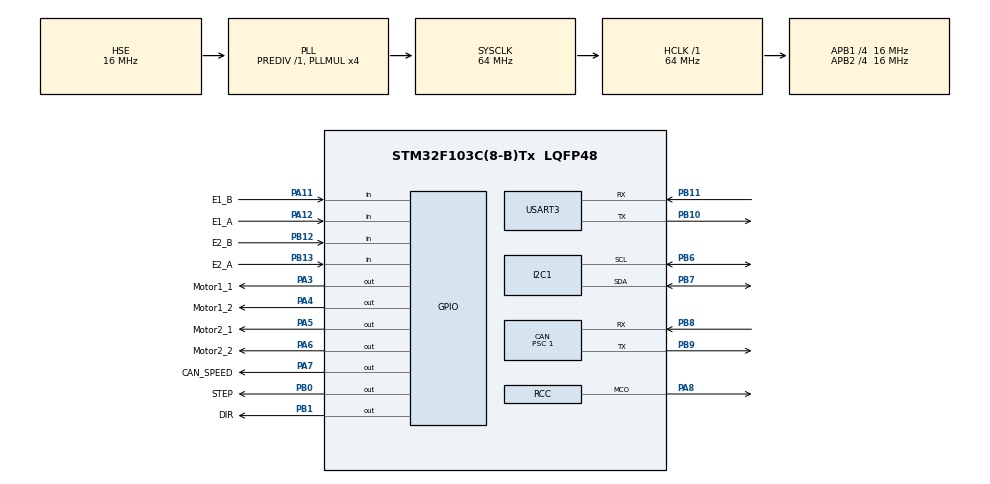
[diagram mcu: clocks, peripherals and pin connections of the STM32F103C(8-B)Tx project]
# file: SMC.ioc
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CAN.BS1=CAN_BS1_13TQ
CAN.BS2=CAN_BS2_2TQ
CAN.CalculateBaudRate=1000000
CAN.CalculateTimeBit=1000
CAN.CalculateTimeQuantum=62.5
CAN.Prescaler=1
Dma.I2C1_RX.0.Direction=DMA_PERIPH_TO_MEMORY
Dma.I2C1_RX.0.Instance=DMA1_Channel7
Dma.I2C1_RX.0.MemDataAlignment=DMA_MDATAALIGN_BYTE
Dma.I2C1_RX.0.MemInc=DMA_MINC_ENABLE
Dma.I2C1_RX.0.Mode=DMA_NORMAL
Dma.I2C1_RX.0.PeriphDataAlignment=DMA_PDATAALIGN_BYTE
Dma.I2C1_RX.0.PeriphInc=DMA_PINC_DISABLE
Dma.I2C1_RX.0.Priority=DMA_PRIORITY_MEDIUM
Dma.Request0=I2C1_RX
I2C1.I2C_Mode=I2C_Standard
Mcu.Family=STM32F1
Mcu.Name=STM32F103C(8-B)Tx
Mcu.Package=LQFP48
NVIC.CAN1_RX1_IRQn=true\:0\:0\:false\:false\:true\:true\:true\:true
NVIC.DMA1_Channel7_IRQn=true\:0\:0\:false\:false\:true\:false\:true\:true
NVIC.I2C1_ER_IRQn=true\:0\:0\:false\:false\:true\:true\:true\:true
NVIC.I2C1_EV_IRQn=true\:0\:0\:false\:false\:true\:true\:true\:true
NVIC.PriorityGroup=NVIC_PRIORITYGROUP_4
NVIC.TIM1_BRK_IRQn=true\:0\:0\:false\:false\:true\:true\:true\:true
NVIC.TIM1_TRG_COM_IRQn=true\:0\:0\:false\:false\:true\:true\:true\:true
NVIC.TIM1_UP_IRQn=true\:0\:0\:false\:false\:true\:true\:true\:true
NVIC.TIM2_IRQn=true\:0\:0\:false\:false\:true\:true\:true\:true
NVIC.TIM3_IRQn=true\:0\:0\:false\:false\:true\:true\:true\:true
NVIC.TIM4_IRQn=true\:0\:0\:false\:false\:true\:true\:true\:true
NVIC.USB_HP_CAN1_TX_IRQn=true\:0\:0\:false\:false\:true\:true\:true\:true
NVIC.USB_LP_CAN1_RX0_IRQn=true\:0\:0\:false\:false\:true\:true\:true\:true
PA11.GPIO_Label=E1_B
PA11.Signal=GPIO_Input
PA12.GPIO_Label=E1_A
PA12.Signal=GPIO_Input
PA13.Mode=Serial_Wire
PA13.Signal=SYS_JTMS-SWDIO
PA14.Mode=Serial_Wire
PA14.Signal=SYS_JTCK-SWCLK
PA3.GPIO_Label=Motor1_1
PA3.Signal=GPIO_Output
PA4.GPIO_Label=Motor1_2
PA4.Signal=GPIO_Output
PA5.GPIO_Label=Motor2_1
PA5.Signal=GPIO_Output
PA6.GPIO_Label=Motor2_2
PA6.Signal=GPIO_Output
PA7.GPIO_Label=CAN_SPEED
PA7.Signal=GPIO_Output
PA8.Mode=Clock-out
PA8.Signal=RCC_MCO
PB0.GPIO_Label=STEP
PB0.Signal=GPIO_Output
PB1.GPIO_Label=DIR
PB1.Signal=GPIO_Output
PB10.Mode=Asynchronous
PB10.Signal=USART3_TX
PB11.Mode=Asynchronous
PB11.Signal=USART3_RX
PB12.GPIO_Label=E2_B
PB12.Signal=GPIO_Input
PB13.GPIO_Label=E2_A
PB13.Signal=GPIO_Input
PB6.Mode=I2C
PB6.Signal=I2C1_SCL
PB7.Mode=I2C
PB7.Signal=I2C1_SDA
PB8.Mode=CAN_Activate
PB8.Signal=CAN_RX
PB9.Mode=CAN_Activate
PB9.Signal=CAN_TX
PD0-OSC_IN.Mode=HSE-External-Oscillator
PD0-OSC_IN.Signal=RCC_OSC_IN
PD1-OSC_OUT.Mode=HSE-External-Oscillator
PD1-OSC_OUT.Signal=RCC_OSC_OUT
ProjectManager.HeapSize=0x200
ProjectManager.StackSize=0x400
ProjectManager.TargetToolchain=STM32CubeIDE
RCC.AHBFreq_Value=64000000
RCC.APB1CLKDivider=RCC_HCLK_DIV4
RCC.APB1Freq_Value=16000000
RCC.APB1TimCLKDivider=2
RCC.APB1TimFreq_Value=32000000
RCC.APB2CLKDivider=RCC_HCLK_DIV4
RCC.APB2Freq_Value=16000000
RCC.APB2TimFreq_Value=32000000
RCC.HCLKFreq_Value=64000000
RCC.HSE_VALUE=16000000
RCC.PLLMUL=RCC_PLL_MUL4
RCC.PLLSourceVirtual=RCC_PLLSOURCE_HSE
RCC.RCC_MCOSource=RCC_MCO1SOURCE_HSE
RCC.SYSCLKFreq_VALUE=64000000
RCC.SYSCLKSource=RCC_SYSCLKSOURCE_PLLCLK
RCC.USBFreq_Value=64000000
TIM1.AutoReloadPreload=TIM_AUTORELOAD_PRELOAD_DISABLE
TIM1.Period=65535
TIM1.Prescaler=32-1
TIM2.Period=65535
TIM2.Prescaler=40-1
TIM3.Period=100-1
TIM3.Prescaler=4-1
TIM4.Period=100-1
TIM4.Prescaler=4-1
USART3.VirtualMode=VM_ASYNC
VP_TIM1_VS_ClockSourceINT.Mode=Internal
VP_TIM2_VS_ClockSourceINT.Mode=Internal
VP_TIM3_VS_ClockSourceINT.Mode=Internal
VP_TIM4_VS_ClockSourceINT.Mode=Internal
board=custom

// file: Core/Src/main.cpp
/* USER CODE BEGIN Header */
/**
  ******************************************************************************
  * @file           : main.c
  * @brief          : Main program body
  ******************************************************************************
  * @attention
  *
  * Copyright (c) 2024 STMicroelectronics.
  * All rights reserved.
  *
  * This software is licensed under terms that can be found in the LICENSE file
  * in the root directory of this software component.
  * If no LICENSE file comes with this software, it is provided AS-IS.
  *
  ******************************************************************************
  */
/* USER CODE END Header */
#include "main.h"
#include "math.h"
//
//M_PI

/* USER CODE BEGIN Includes */

#include "stepper_setting.hpp"
#include "motors.hpp"
#include "can.hpp"
#include "encoders.hpp"
#include "smc.hpp"

/* USER CODE END Includes */

/* USER CODE BEGIN PD */

#define SYSCLK 64000000

/* USER CODE END PD */

CAN_HandleTypeDef hcan;

I2C_HandleTypeDef hi2c1;
DMA_HandleTypeDef hdma_i2c1_rx;

TIM_HandleTypeDef htim1;
TIM_HandleTypeDef htim2;
TIM_HandleTypeDef htim3;
TIM_HandleTypeDef htim4;

UART_HandleTypeDef huart3;

/* USER CODE BEGIN PV */

uint16_t E1_last = 0;
uint16_t E2_last = 0;

uint32_t speedLE = 0, speedRE = 0;

/* USER CODE END PV */

void SystemClock_Config(void);
static void MX_GPIO_Init(void);
static void MX_DMA_Init(void);
static void MX_I2C1_Init(void);
static void MX_CAN_Init(void);
static void MX_USART3_UART_Init(void);
static void MX_TIM1_Init(void);
static void MX_TIM2_Init(void);
static void MX_TIM3_Init(void);
static void MX_TIM4_Init(void);
/* USER CODE BEGIN PFP */

#define MT6701_ADDR (0x06 << 1)  // Default slave address 0x06 shifted for HAL
#define REG_ANGLE_HIGH 0x03
#define REG_ANGLE_LOW 0x04

/* USER CODE END PFP */

/* USER CODE BEGIN 0 */
uint32_t speedTim(uint8_t id) {
	return ((id ? speedRE : speedLE) > __HAL_TIM_GET_COUNTER(&htim2) ?
			__HAL_TIM_GET_COUNTER(&htim2) + 65536 :
			__HAL_TIM_GET_COUNTER(&htim2)) - (id ? speedRE : speedLE);
}

void separate_float(float value, uint8_t* integer_part, uint8_t* decimal_part) {
    // Extract integer part
    *integer_part = (uint8_t)value;

    // Extract 2 decimal digits
    float decimal_temp = (value - (int)value) * 100;
    *decimal_part = (uint8_t)decimal_temp;
}
/* USER CODE END 0 */

int main(void)
{

  /* MCU Configuration--------------------------------------------------------*/

  /* Reset of all peripherals, Initializes the Flash interface and the Systick. */
  HAL_Init();

  /* Configure the system clock */
  SystemClock_Config();

  /* Initialize all configured peripherals */
  MX_GPIO_Init();
  MX_DMA_Init();
  MX_I2C1_Init();
  MX_CAN_Init();
  MX_USART3_UART_Init();
  MX_TIM1_Init();
  MX_TIM2_Init();
  MX_TIM3_Init();
  MX_TIM4_Init();
  /* USER CODE BEGIN 2 */

  HAL_TIM_Base_Start(&htim2);

  stpSetting_init(&huart3);
  gconfSetup(global_config_);
  cconfSetup(chopper_config_, 0b0011);
  currentSetup(driver_current_, 0, current);

  Stepper_Init(&htim1);
  Stepper_SetSpeed(30);

  DC_Init(&htim3, 0);
  DC_Init(&htim4, 1);

  CAN_INIT(&hcan, DEVICE_ID, MASK_SINGLE);

  /* USER CODE END 2 */

//	  stepper_angle = stepper_encoder_angle(&hi2c1, RAD);
  uint8_t E1A, E1B, E2A, E2B;
  uint8_t curE1, curE2, lastE1 = 0, lastE2 = 0;
  uint8_t replyData[8];

  uint64_t start;
  uint8_t dc_flag = 0;

//  static uint16_t enc_div = 0;
//  uint16_t enc_before = 0;
//  uint8_t on_run = 0;

  while (1) {
//	if (++enc_div >= 0) {
//		enc_div = 0;
//
//		stepper_encoder_angle(DEG);
//		increment = abs(raw_angle - enc_before);
//
//		if (stepper.is_running) on_run = 1;
//		else if (on_run && increment <= 10) {
//			Stepper_Stop();
//			on_run = 0;
//
//			replyData[0] = 0x30;
//			packFloat(404.404, replyData + 1);
//			CAN_Tx(replyData, 8, DEVICE_MASTER);
//		} else if (on_run) {
//			replyData[0] = 0x30;
//			packFloat(increment, replyData + 1);
//			CAN_Tx(replyData, 8, DEVICE_MASTER);
//		}
////		replyData[0] = 0x30;
////		packFloat(increment, replyData + 1);
////		CAN_Tx(replyData, 8, DEVICE_MASTER);
//
//		enc_before = raw_angle;
//	}

	E1A = HAL_GPIO_ReadPin(E1_A_GPIO_Port, E1_A_Pin);
	E1B = HAL_GPIO_ReadPin(E1_B_GPIO_Port, E1_B_Pin);
	curE1 = (E1A << 1) | E1B;

	E2A = HAL_GPIO_ReadPin(E2_A_GPIO_Port, E2_A_Pin);
	E2B = HAL_GPIO_ReadPin(E2_B_GPIO_Port, E2_B_Pin);
	curE2 = (E2A << 1) | E2B;

	if(curE1 != lastE1) {
		switch((lastE1 << 2) | curE1) {
		  case 0b0010:
		  case 0b1011:
		  case 0b1101:
		  case 0b0100:
			DCL.countE--;
			DCL.error = -(DCL.counts_to_go - DCL.countE);

			if (DCL.is_running && !DCL.dir) {
				DCL.speedE = speedTim(0);
				speedLE = __HAL_TIM_GET_COUNTER(&htim2);

				if ((DCL.counts_going) / 4 - 5 <= DCL.counts_going - DCL.error
						&& DCL.counts_going - DCL.error < (DCL.counts_going) / 4 + 5) {
					DCL.sum += DCL.speedE;
				} else if (DCL.counts_going - DCL.error == (DCL.counts_going) / 4 + 5) {
					spd = DCL.sum / 10;
					spdFlag = 1;
				}
			}

			break;

		  case 0b0001:
		  case 0b0111:
		  case 0b1110:
		  case 0b1000:
			DCL.countE++;
			DCL.error = (DCL.counts_to_go - DCL.countE);

//			DCL.speedE = __HAL_TIM_GET_COUNTER(&htim2);
//			__HAL_TIM_SET_COUNTER(&htim2, 0);

			if (DCL.is_running && DCL.dir) {
				DCL.speedE = speedTim(0);
				speedLE = __HAL_TIM_GET_COUNTER(&htim2);

				if ((DCL.counts_going) / 4 - 5 <= DCL.counts_going - DCL.error
						&& DCL.counts_going - DCL.error < (DCL.counts_going) / 4 + 5) {
					DCL.sum += DCL.speedE;
				} else if (DCL.counts_going - DCL.error == (DCL.counts_going) / 4 + 5) {
					spd = DCL.sum / 10;
					spdFlag = 1;
				}

				if (DCL.speedE <= 160 && accelCnt < 5) accelCnt++;
				if (accelCnt == 5) {
					accel = DCL.counts_going - DCL.error;
					accelCnt++;
				}
			}

			break;
		} lastE1 = curE1;
	}

	if(curE2 != lastE2) {
		switch((lastE2 << 2) | curE2) {
		  case 0b0010:
		  case 0b1011:
		  case 0b1101:
		  case 0b0100:
			DCR.countE++;
			DCR.error = (DCR.counts_to_go - DCR.countE);

			if (DCR.is_running && DCR.dir) {
				DCR.speedE = speedTim(1);
				speedRE = __HAL_TIM_GET_COUNTER(&htim2);

				if ((DCR.counts_going) / 4 - 5 <= DCR.counts_going - DCR.error
						&& DCR.counts_going - DCR.error < (DCR.counts_going) / 4 + 5) {
					DCR.sum += DCR.speedE;
				} else if (DCR.counts_going - DCR.error == (DCR.counts_going) / 4 + 5) {
					spd = DCR.sum / 10;
					spdFlag = 1;
				}
			}

			break;

		  case 0b0001:
		  case 0b0111:
		  case 0b1110:
		  case 0b1000:
			DCR.countE--;
			DCR.error = -(DCR.counts_to_go - DCR.countE);

			if (DCR.is_running && !DCR.dir) {
				DCR.speedE = speedTim(1);
				speedRE = __HAL_TIM_GET_COUNTER(&htim2);

				if ((DCR.counts_going) / 4 - 5 <= DCR.counts_going - DCR.error
						&& DCR.counts_going - DCR.error < (DCR.counts_going) / 4 + 5) {
					DCR.sum += DCR.speedE;
				} else if (DCR.counts_going - DCR.error == (DCR.counts_going) / 4 + 5) {
					spd = DCR.sum / 10;
					spdFlag = 1;
				}
			}

			break;
		} lastE2 = curE2;
	}

	if (DCL.stopped == -1 && speedTim(0) > 20000) {
		DCL.stopped = 1;

		if (dcl_program) dc_placed(0);
		if (swap == SWAP) dc_orient(target_ori);
//		send_int16(DCL.counts_going - DCL.error, replyData + 2);
	}

	if (DCR.stopped == -1 && speedTim(1) > 20000) {
		DCR.stopped = 1;

		if (dcr_program) dc_placed(1);
		if (swap == SWAP) dc_orient(target_ori);
	}

	if (phase != HOMING_DONE && DCL.stopped && DCR.stopped && !dc_flag) {
		start = HAL_GetTick();
		dc_flag = 1;
	} if (dc_flag && HAL_GetTick() - start > 100) {
		dc_flag = 0;
		dc_home();
	}

  }
}

void HAL_TIM_PeriodElapsedCallback(TIM_HandleTypeDef *htim) {
	if (htim -> Instance == stepper.htim_stepper -> Instance) Stepper_TIM_Interrupt();
    else if(htim -> Instance == DCL.htim_dc -> Instance) DC_TIM_Interrupt(&DCL);
    else if(htim -> Instance == DCR.htim_dc -> Instance) DC_TIM_Interrupt(&DCR);
}

void SystemClock_Config(void)
{
  RCC_OscInitTypeDef RCC_OscInitStruct = {0};
  RCC_ClkInitTypeDef RCC_ClkInitStruct = {0};

  /** Initializes the RCC Oscillators according to the specified parameters
  * in the RCC_OscInitTypeDef structure.
  */
  RCC_OscInitStruct.OscillatorType = RCC_OSCILLATORTYPE_HSE;
  RCC_OscInitStruct.HSEState = RCC_HSE_ON;
  RCC_OscInitStruct.HSEPredivValue = RCC_HSE_PREDIV_DIV1;
  RCC_OscInitStruct.HSIState = RCC_HSI_ON;
  RCC_OscInitStruct.PLL.PLLState = RCC_PLL_ON;
  RCC_OscInitStruct.PLL.PLLSource = RCC_PLLSOURCE_HSE;
  RCC_OscInitStruct.PLL.PLLMUL = RCC_PLL_MUL4;
  if (HAL_RCC_OscConfig(&RCC_OscInitStruct) != HAL_OK)
  {
    Error_Handler();
  }

  /** Initializes the CPU, AHB and APB buses clocks
  */
  RCC_ClkInitStruct.ClockType = RCC_CLOCKTYPE_HCLK|RCC_CLOCKTYPE_SYSCLK
                              |RCC_CLOCKTYPE_PCLK1|RCC_CLOCKTYPE_PCLK2;
  RCC_ClkInitStruct.SYSCLKSource = RCC_SYSCLKSOURCE_PLLCLK;
  RCC_ClkInitStruct.AHBCLKDivider = RCC_SYSCLK_DIV1;
  RCC_ClkInitStruct.APB1CLKDivider = RCC_HCLK_DIV4;
  RCC_ClkInitStruct.APB2CLKDivider = RCC_HCLK_DIV4;

  if (HAL_RCC_ClockConfig(&RCC_ClkInitStruct, FLASH_LATENCY_2) != HAL_OK)
  {
    Error_Handler();
  }
  HAL_RCC_MCOConfig(RCC_MCO, RCC_MCO1SOURCE_HSE, RCC_MCODIV_1);
}

static void MX_CAN_Init(void)
{

  hcan.Instance = CAN1;
  hcan.Init.Prescaler = 1;
  hcan.Init.Mode = CAN_MODE_NORMAL;
  hcan.Init.SyncJumpWidth = CAN_SJW_1TQ;
  hcan.Init.TimeSeg1 = CAN_BS1_13TQ;
  hcan.Init.TimeSeg2 = CAN_BS2_2TQ;
  hcan.Init.TimeTriggeredMode = DISABLE;
  hcan.Init.AutoBusOff = DISABLE;
  hcan.Init.AutoWakeUp = DISABLE;
  hcan.Init.AutoRetransmission = DISABLE;
  hcan.Init.ReceiveFifoLocked = DISABLE;
  hcan.Init.TransmitFifoPriority = DISABLE;
  if (HAL_CAN_Init(&hcan) != HAL_OK)
  {
    Error_Handler();
  }

}

static void MX_I2C1_Init(void)
{

  hi2c1.Instance = I2C1;
  hi2c1.Init.ClockSpeed = 100000;
  hi2c1.Init.DutyCycle = I2C_DUTYCYCLE_2;
  hi2c1.Init.OwnAddress1 = 0;
  hi2c1.Init.AddressingMode = I2C_ADDRESSINGMODE_7BIT;
  hi2c1.Init.DualAddressMode = I2C_DUALADDRESS_DISABLE;
  hi2c1.Init.OwnAddress2 = 0;
  hi2c1.Init.GeneralCallMode = I2C_GENERALCALL_DISABLE;
  hi2c1.Init.NoStretchMode = I2C_NOSTRETCH_DISABLE;
  if (HAL_I2C_Init(&hi2c1) != HAL_OK)
  {
    Error_Handler();
  }

}

static void MX_TIM1_Init(void)
{

  TIM_ClockConfigTypeDef sClockSourceConfig = {0};
  TIM_MasterConfigTypeDef sMasterConfig = {0};

  htim1.Instance = TIM1;
  htim1.Init.Prescaler = 32-1;
  htim1.Init.CounterMode = TIM_COUNTERMODE_UP;
  htim1.Init.Period = 65535;
  htim1.Init.ClockDivision = TIM_CLOCKDIVISION_DIV1;
  htim1.Init.RepetitionCounter = 0;
  htim1.Init.AutoReloadPreload = TIM_AUTORELOAD_PRELOAD_DISABLE;
  if (HAL_TIM_Base_Init(&htim1) != HAL_OK)
  {
    Error_Handler();
  }
  sClockSourceConfig.ClockSource = TIM_CLOCKSOURCE_INTERNAL;
  if (HAL_TIM_ConfigClockSource(&htim1, &sClockSourceConfig) != HAL_OK)
  {
    Error_Handler();
  }
  sMasterConfig.MasterOutputTrigger = TIM_TRGO_RESET;
  sMasterConfig.MasterSlaveMode = TIM_MASTERSLAVEMODE_DISABLE;
  if (HAL_TIMEx_MasterConfigSynchronization(&htim1, &sMasterConfig) != HAL_OK)
  {
    Error_Handler();
  }

}

static void MX_TIM2_Init(void)
{

  TIM_ClockConfigTypeDef sClockSourceConfig = {0};
  TIM_MasterConfigTypeDef sMasterConfig = {0};

  htim2.Instance = TIM2;
  htim2.Init.Prescaler = 40-1;
  htim2.Init.CounterMode = TIM_COUNTERMODE_UP;
  htim2.Init.Period = 65535;
  htim2.Init.ClockDivision = TIM_CLOCKDIVISION_DIV1;
  htim2.Init.AutoReloadPreload = TIM_AUTORELOAD_PRELOAD_DISABLE;
  if (HAL_TIM_Base_Init(&htim2) != HAL_OK)
  {
    Error_Handler();
  }
  sClockSourceConfig.ClockSource = TIM_CLOCKSOURCE_INTERNAL;
  if (HAL_TIM_ConfigClockSource(&htim2, &sClockSourceConfig) != HAL_OK)
  {
    Error_Handler();
  }
  sMasterConfig.MasterOutputTrigger = TIM_TRGO_RESET;
  sMasterConfig.MasterSlaveMode = TIM_MASTERSLAVEMODE_DISABLE;
  if (HAL_TIMEx_MasterConfigSynchronization(&htim2, &sMasterConfig) != HAL_OK)
  {
    Error_Handler();
  }

}

static void MX_TIM3_Init(void)
{

  TIM_ClockConfigTypeDef sClockSourceConfig = {0};
  TIM_MasterConfigTypeDef sMasterConfig = {0};

  htim3.Instance = TIM3;
  htim3.Init.Prescaler = 4-1;
  htim3.Init.CounterMode = TIM_COUNTERMODE_UP;
  htim3.Init.Period = 100-1;
  htim3.Init.ClockDivision = TIM_CLOCKDIVISION_DIV1;
  htim3.Init.AutoReloadPreload = TIM_AUTORELOAD_PRELOAD_DISABLE;
  if (HAL_TIM_Base_Init(&htim3) != HAL_OK)
  {
    Error_Handler();
  }
  sClockSourceConfig.ClockSource = TIM_CLOCKSOURCE_INTERNAL;
  if (HAL_TIM_ConfigClockSource(&htim3, &sClockSourceConfig) != HAL_OK)
  {
    Error_Handler();
  }
  sMasterConfig.MasterOutputTrigger = TIM_TRGO_RESET;
  sMasterConfig.MasterSlaveMode = TIM_MASTERSLAVEMODE_DISABLE;
  if (HAL_TIMEx_MasterConfigSynchronization(&htim3, &sMasterConfig) != HAL_OK)
  {
    Error_Handler();
  }

}

static void MX_TIM4_Init(void)
{

  TIM_ClockConfigTypeDef sClockSourceConfig = {0};
  TIM_MasterConfigTypeDef sMasterConfig = {0};

  htim4.Instance = TIM4;
  htim4.Init.Prescaler = 4-1;
  htim4.Init.CounterMode = TIM_COUNTERMODE_UP;
  htim4.Init.Period = 100-1;
  htim4.Init.ClockDivision = TIM_CLOCKDIVISION_DIV1;
  htim4.Init.AutoReloadPreload = TIM_AUTORELOAD_PRELOAD_DISABLE;
  if (HAL_TIM_Base_Init(&htim4) != HAL_OK)
  {
    Error_Handler();
  }
  sClockSourceConfig.ClockSource = TIM_CLOCKSOURCE_INTERNAL;
  if (HAL_TIM_ConfigClockSource(&htim4, &sClockSourceConfig) != HAL_OK)
  {
    Error_Handler();
  }
  sMasterConfig.MasterOutputTrigger = TIM_TRGO_RESET;
  sMasterConfig.MasterSlaveMode = TIM_MASTERSLAVEMODE_DISABLE;
  if (HAL_TIMEx_MasterConfigSynchronization(&htim4, &sMasterConfig) != HAL_OK)
  {
    Error_Handler();
  }

}

static void MX_USART3_UART_Init(void)
{

  huart3.Instance = USART3;
  huart3.Init.BaudRate = 115200;
  huart3.Init.WordLength = UART_WORDLENGTH_8B;
  huart3.Init.StopBits = UART_STOPBITS_1;
  huart3.Init.Parity = UART_PARITY_NONE;
  huart3.Init.Mode = UART_MODE_TX_RX;
  huart3.Init.HwFlowCtl = UART_HWCONTROL_NONE;
  huart3.Init.OverSampling = UART_OVERSAMPLING_16;
  if (HAL_UART_Init(&huart3) != HAL_OK)
  {
    Error_Handler();
  }

}

static void MX_DMA_Init(void)
{

  /* DMA controller clock enable */
  __HAL_RCC_DMA1_CLK_ENABLE();

  /* DMA interrupt init */
  /* DMA1_Channel7_IRQn interrupt configuration */
  HAL_NVIC_SetPriority(DMA1_Channel7_IRQn, 0, 0);
  HAL_NVIC_EnableIRQ(DMA1_Channel7_IRQn);

}

static void MX_GPIO_Init(void)
{
  GPIO_InitTypeDef GPIO_InitStruct = {0};

  /* GPIO Ports Clock Enable */
  __HAL_RCC_GPIOD_CLK_ENABLE();
  __HAL_RCC_GPIOA_CLK_ENABLE();
  __HAL_RCC_GPIOB_CLK_ENABLE();

  /*Configure GPIO pin Output Level */
  HAL_GPIO_WritePin(GPIOA, Motor1_1_Pin|Motor1_2_Pin|Motor2_1_Pin|Motor2_2_Pin
                          |CAN_SPEED_Pin, GPIO_PIN_RESET);

  /*Configure GPIO pin Output Level */
  HAL_GPIO_WritePin(GPIOB, STEP_Pin|DIR_Pin, GPIO_PIN_RESET);

  /*Configure GPIO pins : Motor1_1_Pin Motor1_2_Pin Motor2_1_Pin Motor2_2_Pin
                           CAN_SPEED_Pin */
  GPIO_InitStruct.Pin = Motor1_1_Pin|Motor1_2_Pin|Motor2_1_Pin|Motor2_2_Pin
                          |CAN_SPEED_Pin;
  GPIO_InitStruct.Mode = GPIO_MODE_OUTPUT_PP;
  GPIO_InitStruct.Pull = GPIO_NOPULL;
  GPIO_InitStruct.Speed = GPIO_SPEED_FREQ_LOW;
  HAL_GPIO_Init(GPIOA, &GPIO_InitStruct);

  /*Configure GPIO pins : STEP_Pin DIR_Pin */
  GPIO_InitStruct.Pin = STEP_Pin|DIR_Pin;
  GPIO_InitStruct.Mode = GPIO_MODE_OUTPUT_PP;
  GPIO_InitStruct.Pull = GPIO_NOPULL;
  GPIO_InitStruct.Speed = GPIO_SPEED_FREQ_LOW;
  HAL_GPIO_Init(GPIOB, &GPIO_InitStruct);

  /*Configure GPIO pins : E2_B_Pin E2_A_Pin */
  GPIO_InitStruct.Pin = E2_B_Pin|E2_A_Pin;
  GPIO_InitStruct.Mode = GPIO_MODE_INPUT;
  GPIO_InitStruct.Pull = GPIO_NOPULL;
  HAL_GPIO_Init(GPIOB, &GPIO_InitStruct);

  /*Configure GPIO pin : PA8 */
  GPIO_InitStruct.Pin = GPIO_PIN_8;
  GPIO_InitStruct.Mode = GPIO_MODE_AF_PP;
  GPIO_InitStruct.Speed = GPIO_SPEED_FREQ_LOW;
  HAL_GPIO_Init(GPIOA, &GPIO_InitStruct);

  /*Configure GPIO pins : E1_B_Pin E1_A_Pin */
  GPIO_InitStruct.Pin = E1_B_Pin|E1_A_Pin;
  GPIO_InitStruct.Mode = GPIO_MODE_INPUT;
  GPIO_InitStruct.Pull = GPIO_NOPULL;
  HAL_GPIO_Init(GPIOA, &GPIO_InitStruct);

}

void Error_Handler(void)
{
  __disable_irq();
  while (1)
  {
  }
}
